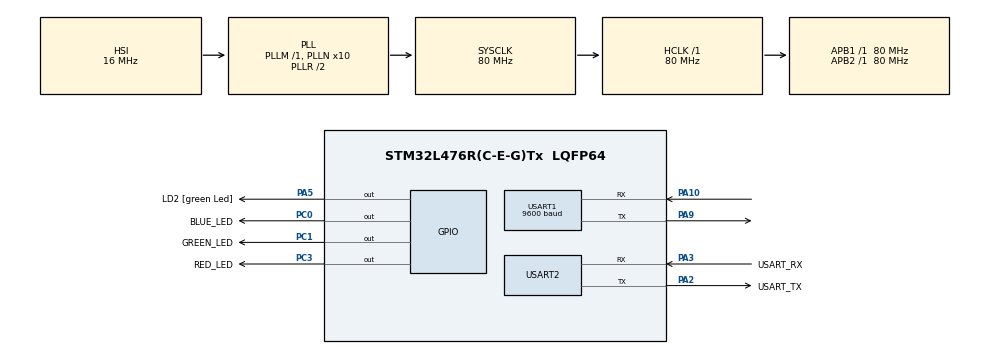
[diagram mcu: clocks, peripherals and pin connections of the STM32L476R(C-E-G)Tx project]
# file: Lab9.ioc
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Mcu.Family=STM32L4
Mcu.Name=STM32L476R(C-E-G)Tx
Mcu.Package=LQFP64
NVIC.PriorityGroup=NVIC_PRIORITYGROUP_4
PA10.Mode=Asynchronous
PA10.Signal=USART1_RX
PA13\ (JTMS-SWDIO).GPIO_Label=TMS
PA13\ (JTMS-SWDIO).Mode=Serial_Wire
PA13\ (JTMS-SWDIO).Signal=SYS_JTMS-SWDIO
PA14\ (JTCK-SWCLK).GPIO_Label=TCK
PA14\ (JTCK-SWCLK).Mode=Serial_Wire
PA14\ (JTCK-SWCLK).Signal=SYS_JTCK-SWCLK
PA2.GPIO_Label=USART_TX
PA2.GPIO_Mode=GPIO_MODE_AF_PP
PA2.GPIO_PuPd=GPIO_NOPULL
PA2.GPIO_Speed=GPIO_SPEED_FREQ_VERY_HIGH
PA2.Mode=Asynchronous
PA2.Signal=USART2_TX
PA3.GPIO_Label=USART_RX
PA3.GPIO_Mode=GPIO_MODE_AF_PP
PA3.GPIO_PuPd=GPIO_NOPULL
PA3.GPIO_Speed=GPIO_SPEED_FREQ_VERY_HIGH
PA3.Mode=Asynchronous
PA3.Signal=USART2_RX
PA5.GPIO_Label=LD2 [green Led]
PA5.GPIO_ModeDefaultOutputPP=GPIO_MODE_OUTPUT_PP
PA5.GPIO_PuPd=GPIO_NOPULL
PA5.GPIO_Speed=GPIO_SPEED_FREQ_LOW
PA5.Signal=GPIO_Output
PA9.Mode=Asynchronous
PA9.Signal=USART1_TX
PB3\ (JTDO-TRACESWO).GPIO_Label=SWO
PB3\ (JTDO-TRACESWO).Signal=SYS_JTDO-SWO
PC0.GPIO_Label=BLUE_LED
PC0.Signal=GPIO_Output
PC1.GPIO_Label=GREEN_LED
PC1.Signal=GPIO_Output
PC14-OSC32_IN\ (PC14).Mode=LSE-External-Oscillator
PC14-OSC32_IN\ (PC14).Signal=RCC_OSC32_IN
PC15-OSC32_OUT\ (PC15).Mode=LSE-External-Oscillator
PC15-OSC32_OUT\ (PC15).Signal=RCC_OSC32_OUT
PC3.GPIO_Label=RED_LED
PC3.Signal=GPIO_Output
PH0-OSC_IN\ (PH0).Signal=RCC_OSC_IN
PH1-OSC_OUT\ (PH1).Signal=RCC_OSC_OUT
ProjectManager.HeapSize=0x200
ProjectManager.StackSize=0x400
ProjectManager.TargetToolchain=STM32CubeIDE
RCC.ADCFreq_Value=64000000
RCC.AHBFreq_Value=80000000
RCC.APB1Freq_Value=80000000
RCC.APB1TimFreq_Value=80000000
RCC.APB2Freq_Value=80000000
RCC.APB2TimFreq_Value=80000000
RCC.CortexFreq_Value=80000000
RCC.HCLKFreq_Value=80000000
RCC.HSE_VALUE=8000000
RCC.HSI_VALUE=16000000
RCC.MSI_VALUE=4000000
RCC.PLLN=10
RCC.PLLSourceVirtual=RCC_PLLSOURCE_HSI
RCC.PREFETCH_ENABLE=1
RCC.SYSCLKFreq_VALUE=80000000
RCC.SYSCLKSource=RCC_SYSCLKSOURCE_PLLCLK
RCC.USBFreq_Value=64000000
RCC.VCOOutputFreq_Value=160000000
USART1.BaudRate=9600
USART1.VirtualMode-Asynchronous=VM_ASYNC
USART2.VirtualMode-Asynchronous=VM_ASYNC
board=NUCLEO-L476RG

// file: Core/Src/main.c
/* USER CODE BEGIN Header */
/**
  ******************************************************************************
  * @file           : main.c
  * @brief          : Main program body
  ******************************************************************************
  * @attention
  *
  * Copyright (c) 2023 STMicroelectronics.
  * All rights reserved.
  *
  * This software is licensed under terms that can be found in the LICENSE file
  * in the root directory of this software component.
  * If no LICENSE file comes with this software, it is provided AS-IS.
  *
  ******************************************************************************
  */
/* USER CODE END Header */
#include "main.h"

/* USER CODE BEGIN Includes */
#include "string.h" // library for C strings
/* USER CODE END Includes */

/* USER CODE BEGIN PM */
#define UART_DELAY 100 // wait max of 100 ms between frames in message
#define MAX_MESSAGE_SIZE 100 // 100 characters maximum message size
/* USER CODE END PM */

UART_HandleTypeDef huart1;
UART_HandleTypeDef huart2;

/* USER CODE BEGIN PV */
char message[MAX_MESSAGE_SIZE]; // char array to store message
/* USER CODE END PV */

void SystemClock_Config(void);
static void MX_GPIO_Init(void);
static void MX_USART2_UART_Init(void);
static void MX_USART1_UART_Init(void);

int main(void)
{

  /* MCU Configuration--------------------------------------------------------*/

  /* Reset of all peripherals, Initializes the Flash interface and the Systick. */
  HAL_Init();

  /* Configure the system clock */
  SystemClock_Config();

  /* Initialize all configured peripherals */
  MX_GPIO_Init();
  MX_USART2_UART_Init();
  MX_USART1_UART_Init();

  /* Infinite loop */
  while (1)
  {

    /* USER CODE BEGIN 3 */
	  // from computer to board
	  // check for message on USART2
	   if (USART2->ISR & UART_FLAG_RXNE){
		   // zero out message array
		   memset(message, 0, sizeof(message));
		   // get message from USART2
		   HAL_UART_Receive(&huart2, (unsigned char*) message, sizeof(message)-1, UART_DELAY);
		   // send the same message to USART1
		   HAL_UART_Transmit(&huart1, (unsigned char*) message, strlen(message), UART_DELAY);
	   }
	   // from board to board
	   // check for message on USART1
	   if (USART1->ISR & UART_FLAG_RXNE){
		   // zero out message array
		   memset(message, 0, sizeof(message));
		   // get message from USART1
		   HAL_UART_Receive(&huart1, (unsigned char*) message, sizeof(message)-1, UART_DELAY);

		   // if "RED_LED_ON\n" was the message received -> Turn on RED_LED
			if (strcmp(message,"RED_LED_ON\n") == 0){
				HAL_GPIO_WritePin(RED_LED_GPIO_Port, RED_LED_Pin, GPIO_PIN_SET);
				strncpy(message, "Task complete - RED_LED turned on.\n", MAX_MESSAGE_SIZE);
			}
			else if (strcmp(message,"RED_LED_OFF\n") == 0){
				HAL_GPIO_WritePin(RED_LED_GPIO_Port, RED_LED_Pin, GPIO_PIN_RESET);
				strncpy(message, "Task complete - RED_LED turned off.\n", MAX_MESSAGE_SIZE);
			}
			// GREEN
			else if (strcmp(message,"GREEN_LED_ON\n") == 0){
				HAL_GPIO_WritePin(GREEN_LED_GPIO_Port, GREEN_LED_Pin, GPIO_PIN_SET);
				strncpy(message, "Task complete - GREEN_LED turned on.\n", MAX_MESSAGE_SIZE);
			}
			else if (strcmp(message,"GREEN_LED_OFF\n") == 0){
				HAL_GPIO_WritePin(GREEN_LED_GPIO_Port, GREEN_LED_Pin, GPIO_PIN_RESET);
				strncpy(message, "Task complete - GREEN_LED turned off.\n", MAX_MESSAGE_SIZE);
			}
			//BLUE
			else if (strcmp(message,"BLUE_LED_ON\n") == 0){
				HAL_GPIO_WritePin(BLUE_LED_GPIO_Port, BLUE_LED_Pin, GPIO_PIN_SET);
				strncpy(message, "Task complete - BLUE_LED turned on.\n", MAX_MESSAGE_SIZE);
			}
			else if (strcmp(message,"BLUE_LED_OFF\n") == 0){
				HAL_GPIO_WritePin(BLUE_LED_GPIO_Port, BLUE_LED_Pin, GPIO_PIN_RESET);
				strncpy(message, "Task complete - BLUE_LED turned off.\n", MAX_MESSAGE_SIZE);
			}
			else {
				strncpy(message, "Task incomplete - unrecognized task.\n", MAX_MESSAGE_SIZE);
			}

		   // send the same message to USART2
		   HAL_UART_Transmit(&huart2, (unsigned char*) message, strlen(message), UART_DELAY);
	   }

  }
  /* USER CODE END 3 */
}

void SystemClock_Config(void)
{
  RCC_OscInitTypeDef RCC_OscInitStruct = {0};
  RCC_ClkInitTypeDef RCC_ClkInitStruct = {0};

  /** Configure the main internal regulator output voltage
  */
  if (HAL_PWREx_ControlVoltageScaling(PWR_REGULATOR_VOLTAGE_SCALE1) != HAL_OK)
  {
    Error_Handler();
  }

  /** Initializes the RCC Oscillators according to the specified parameters
  * in the RCC_OscInitTypeDef structure.
  */
  RCC_OscInitStruct.OscillatorType = RCC_OSCILLATORTYPE_HSI;
  RCC_OscInitStruct.HSIState = RCC_HSI_ON;
  RCC_OscInitStruct.HSICalibrationValue = RCC_HSICALIBRATION_DEFAULT;
  RCC_OscInitStruct.PLL.PLLState = RCC_PLL_ON;
  RCC_OscInitStruct.PLL.PLLSource = RCC_PLLSOURCE_HSI;
  RCC_OscInitStruct.PLL.PLLM = 1;
  RCC_OscInitStruct.PLL.PLLN = 10;
  RCC_OscInitStruct.PLL.PLLP = RCC_PLLP_DIV7;
  RCC_OscInitStruct.PLL.PLLQ = RCC_PLLQ_DIV2;
  RCC_OscInitStruct.PLL.PLLR = RCC_PLLR_DIV2;
  if (HAL_RCC_OscConfig(&RCC_OscInitStruct) != HAL_OK)
  {
    Error_Handler();
  }

  /** Initializes the CPU, AHB and APB buses clocks
  */
  RCC_ClkInitStruct.ClockType = RCC_CLOCKTYPE_HCLK|RCC_CLOCKTYPE_SYSCLK
                              |RCC_CLOCKTYPE_PCLK1|RCC_CLOCKTYPE_PCLK2;
  RCC_ClkInitStruct.SYSCLKSource = RCC_SYSCLKSOURCE_PLLCLK;
  RCC_ClkInitStruct.AHBCLKDivider = RCC_SYSCLK_DIV1;
  RCC_ClkInitStruct.APB1CLKDivider = RCC_HCLK_DIV1;
  RCC_ClkInitStruct.APB2CLKDivider = RCC_HCLK_DIV1;

  if (HAL_RCC_ClockConfig(&RCC_ClkInitStruct, FLASH_LATENCY_4) != HAL_OK)
  {
    Error_Handler();
  }
}

static void MX_USART1_UART_Init(void)
{

  huart1.Instance = USART1;
  huart1.Init.BaudRate = 9600;
  huart1.Init.WordLength = UART_WORDLENGTH_8B;
  huart1.Init.StopBits = UART_STOPBITS_1;
  huart1.Init.Parity = UART_PARITY_NONE;
  huart1.Init.Mode = UART_MODE_TX_RX;
  huart1.Init.HwFlowCtl = UART_HWCONTROL_NONE;
  huart1.Init.OverSampling = UART_OVERSAMPLING_16;
  huart1.Init.OneBitSampling = UART_ONE_BIT_SAMPLE_DISABLE;
  huart1.AdvancedInit.AdvFeatureInit = UART_ADVFEATURE_NO_INIT;
  if (HAL_UART_Init(&huart1) != HAL_OK)
  {
    Error_Handler();
  }

}

static void MX_USART2_UART_Init(void)
{

  huart2.Instance = USART2;
  huart2.Init.BaudRate = 115200;
  huart2.Init.WordLength = UART_WORDLENGTH_8B;
  huart2.Init.StopBits = UART_STOPBITS_1;
  huart2.Init.Parity = UART_PARITY_NONE;
  huart2.Init.Mode = UART_MODE_TX_RX;
  huart2.Init.HwFlowCtl = UART_HWCONTROL_NONE;
  huart2.Init.OverSampling = UART_OVERSAMPLING_16;
  huart2.Init.OneBitSampling = UART_ONE_BIT_SAMPLE_DISABLE;
  huart2.AdvancedInit.AdvFeatureInit = UART_ADVFEATURE_NO_INIT;
  if (HAL_UART_Init(&huart2) != HAL_OK)
  {
    Error_Handler();
  }

}

static void MX_GPIO_Init(void)
{
  GPIO_InitTypeDef GPIO_InitStruct = {0};

  /* GPIO Ports Clock Enable */
  __HAL_RCC_GPIOC_CLK_ENABLE();
  __HAL_RCC_GPIOH_CLK_ENABLE();
  __HAL_RCC_GPIOA_CLK_ENABLE();
  __HAL_RCC_GPIOB_CLK_ENABLE();

  /*Configure GPIO pin Output Level */
  HAL_GPIO_WritePin(GPIOC, BLUE_LED_Pin|GREEN_LED_Pin|RED_LED_Pin, GPIO_PIN_RESET);

  /*Configure GPIO pin Output Level */
  HAL_GPIO_WritePin(LD2_GPIO_Port, LD2_Pin, GPIO_PIN_RESET);

  /*Configure GPIO pins : BLUE_LED_Pin GREEN_LED_Pin RED_LED_Pin */
  GPIO_InitStruct.Pin = BLUE_LED_Pin|GREEN_LED_Pin|RED_LED_Pin;
  GPIO_InitStruct.Mode = GPIO_MODE_OUTPUT_PP;
  GPIO_InitStruct.Pull = GPIO_NOPULL;
  GPIO_InitStruct.Speed = GPIO_SPEED_FREQ_LOW;
  HAL_GPIO_Init(GPIOC, &GPIO_InitStruct);

  /*Configure GPIO pin : LD2_Pin */
  GPIO_InitStruct.Pin = LD2_Pin;
  GPIO_InitStruct.Mode = GPIO_MODE_OUTPUT_PP;
  GPIO_InitStruct.Pull = GPIO_NOPULL;
  GPIO_InitStruct.Speed = GPIO_SPEED_FREQ_LOW;
  HAL_GPIO_Init(LD2_GPIO_Port, &GPIO_InitStruct);

}

void Error_Handler(void)
{
  __disable_irq();
  while (1)
  {
  }
}
